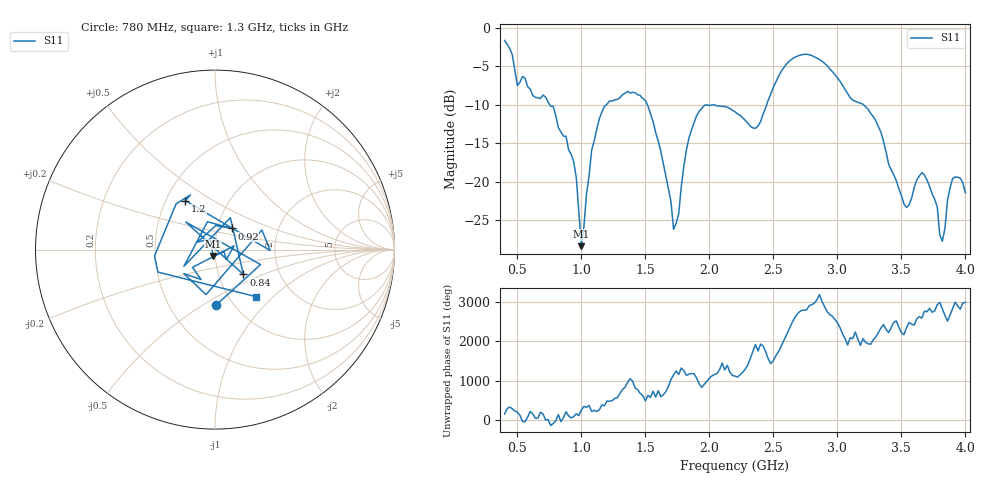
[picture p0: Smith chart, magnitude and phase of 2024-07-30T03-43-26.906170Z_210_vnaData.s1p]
!Created with skrf (http://scikit-rf.org).
# Hz S RI R 50.0
!freq ReS11 ImS11
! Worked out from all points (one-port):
!   181 points, 400 MHz to 4 GHz, reference 50 ohm
!   lowest |S11| = -28.4 dB at 1 GHz (marker M1), VSWR 1.08, Z = 48.7 - j3.53 ohm
!   |S11| at or under -10 dB: 751.9 MHz to 1.197 GHz (444.7 MHz wide, 45.6 % of centre); 1.515 GHz to 2.448 GHz (933 MHz wide, 47.1 % of centre); 3.203 GHz to end of sweep
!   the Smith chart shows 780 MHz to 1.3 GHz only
!   S11 on the Smith chart (normalised r, x): 780 MHz: 0.84, -0.57; 840 MHz: 1.31, -0.38; 920 MHz: 1.17, +0.28; 1.2 GHz: 0.63, +0.38; 1.3 GHz: 1.33, -0.80
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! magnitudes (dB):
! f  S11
! 400 MHz  -1.7
! 500 MHz  -7.5
! 780 MHz  -10.2
! 840 MHz  -13.5
! 860 MHz  -14.1
! 920 MHz  -16.5
! 960 MHz  -19.5
! 1 GHz  -28.4
! 1.08 GHz  -15.9
! 1.2 GHz  -9.9
! 1.3 GHz  -9.1
! 1.5 GHz  -9.5
! 1.62 GHz  -16.0
! 1.72 GHz  -26.2
! 1.76 GHz  -24.2
! 1.82 GHz  -15.9
! 1.9 GHz  -11.5
! 2.2 GHz  -10.9
! 2.38 GHz  -12.8
! 2.66 GHz  -3.9
! 2.88 GHz  -4.4
! 3.1 GHz  -9.1
! 3.3 GHz  -12.1
! 3.56 GHz  -23.0
! 3.68 GHz  -19.2
! 3.82 GHz  -27.8
! 3.9 GHz  -19.6
! 4 GHz  -21.5
